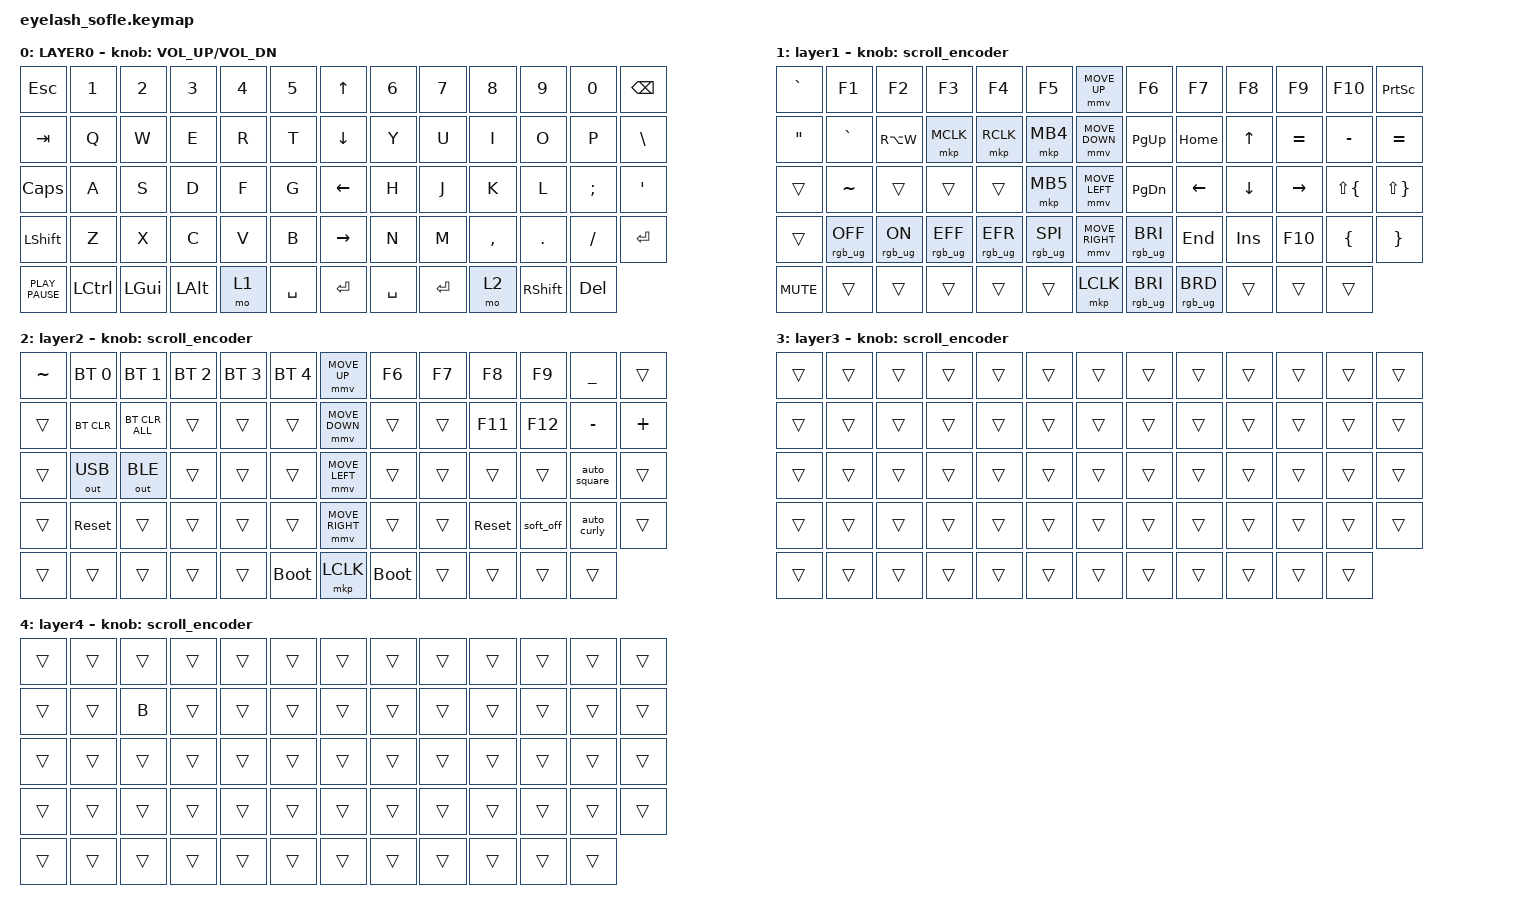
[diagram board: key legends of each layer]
#define ZMK_POINTING_DEFAULT_MOVE_VAL 1200  // 600
#define ZMK_POINTING_DEFAULT_SCRL_VAL 25   // 10

#include <input/processors.dtsi>
#include <zephyr/dt-bindings/input/input-event-codes.h>
#include <behaviors.dtsi>
#include <dt-bindings/zmk/bt.h>
#include <dt-bindings/zmk/keys.h>
#include <dt-bindings/zmk/outputs.h>
#include <dt-bindings/zmk/pointing.h>
#include <dt-bindings/zmk/rgb.h>

&mmv_input_listener { input-processors = <&zip_xy_scaler 2 1>; };

&msc_input_listener { input-processors = <&zip_scroll_scaler 2 1>; };

&msc {
    acceleration-exponent = <1>;      // 0
    time-to-max-speed-ms = <100>;       // 300
    delay-ms = <0>;                   // 0
};

&mmv {
    time-to-max-speed-ms = <500>;
    acceleration-exponent = <1>;
    trigger-period-ms = <16>;
};

&soft_off { hold-time-ms = <2000>; };

/ {
    scroll_encoder: scroll_encoder {
        compatible = "zmk,behavior-sensor-rotate";
        #sensor-binding-cells = <0>;
        bindings = <&msc SCRL_DOWN>, <&msc SCRL_UP>;

        tap-ms = <100>;
    };

    behaviors {
    };

    combos {
        compatible = "zmk,combos";

        softoff {
            bindings = <&soft_off>;
            key-positions = <14 28 40>;
        };
    };

    macros {
        auto_curly: auto_brackets {
            compatible = "zmk,behavior-macro";
            #binding-cells = <0>;
            bindings = <&kp LEFT_BRACE &kp RIGHT_BRACE &kp LEFT>;
            label = "AUTO_CURLY";
        };

        auto_square: auto_square {
            compatible = "zmk,behavior-macro";
            #binding-cells = <0>;
            bindings = <&kp LEFT_BRACKET &kp RIGHT_BRACKET &kp LEFT>;
            label = "AUTO_SQUARE";
        };
    };

    keymap {
        compatible = "zmk,keymap";

        layer0 {
            bindings = <
&kp ESC           &kp N1     &kp N2        &kp N3        &kp N4  &kp N5       &kp UP_ARROW     &kp N6     &kp N7     &kp N8     &kp N9           &kp N0      &kp BACKSPACE
&kp TAB           &kp Q      &kp W         &kp E         &kp R   &kp T        &kp DOWN_ARROW   &kp Y      &kp U      &kp I      &kp O            &kp P       &kp BSLH
&kp CAPS          &kp A      &kp S         &kp D         &kp F   &kp G        &kp LEFT_ARROW   &kp H      &kp J      &kp K      &kp L            &kp SEMI    &kp APOS
&kp LSHFT         &kp Z      &kp X         &kp C         &kp V   &kp B        &kp RIGHT_ARROW  &kp N      &kp M      &kp COMMA  &kp DOT          &kp FSLH    &kp ENTER
&kp K_PLAY_PAUSE  &kp LCTRL  &kp LEFT_GUI  &kp LEFT_ALT  &mo 1   &kp SPACE    &kp ENTER        &kp SPACE  &kp ENTER  &mo 2      &kp RIGHT_SHIFT  &kp DELETE
            >;

            sensor-bindings = <&inc_dec_kp C_VOLUME_UP C_VOL_DN>;
            display-name = "LAYER0";
        };

        layer_1 {
            bindings = <
&kp GRAVE          &kp F1           &kp F2          &kp F3           &kp F4           &kp F5             &mmv MOVE_UP     &kp F6           &kp F7           &kp F8      &kp F9     &kp F10             &kp PRINTSCREEN
&kp DOUBLE_QUOTES  &kp GRAVE        &kp RA(W)       &mkp MCLK        &mkp RCLK        &mkp MB4           &mmv MOVE_DOWN   &kp PG_UP        &kp HOME         &kp UP      &kp EQUAL  &kp MINUS           &kp EQUAL
&trans             &kp TILDE        &trans          &trans           &trans           &mkp MB5           &mmv MOVE_LEFT   &kp PG_DN        &kp LEFT         &kp DOWN    &kp RIGHT  &kp LS(LEFT_BRACE)  &kp LS(RIGHT_BRACE)
&trans             &rgb_ug RGB_OFF  &rgb_ug RGB_ON  &rgb_ug RGB_EFF  &rgb_ug RGB_EFR  &rgb_ug RGB_SPI    &mmv MOVE_RIGHT  &rgb_ug RGB_BRI  &kp END          &kp INSERT  &kp F10    &kp LEFT_BRACE      &kp RIGHT_BRACE
&kp C_MUTE         &trans           &trans          &trans           &trans           &trans             &mkp LCLK        &rgb_ug RGB_BRI  &rgb_ug RGB_BRD  &trans      &trans     &trans
            >;

            display-name = "layer1";
            sensor-bindings = <&scroll_encoder>;
        };

        layer_2 {
            bindings = <
&kp TILDE  &bt BT_SEL 0  &bt BT_SEL 1    &bt BT_SEL 2  &bt BT_SEL 3  &bt BT_SEL 4    &mmv MOVE_UP     &kp F6       &kp F7  &kp F8      &kp F9     &kp UNDER     &trans
&trans     &bt BT_CLR    &bt BT_CLR_ALL  &trans        &trans        &trans          &mmv MOVE_DOWN   &trans       &trans  &kp F11     &kp F12    &kp MINUS     &kp PLUS
&trans     &out OUT_USB  &out OUT_BLE    &trans        &trans        &trans          &mmv MOVE_LEFT   &trans       &trans  &trans      &trans     &auto_square  &trans
&trans     &sys_reset    &trans          &trans        &trans        &trans          &mmv MOVE_RIGHT  &trans       &trans  &sys_reset  &soft_off  &auto_curly   &trans
&trans     &trans        &trans          &trans        &trans        &bootloader     &mkp LCLK        &bootloader  &trans  &trans      &trans     &trans
            >;

            display-name = "layer2";
            sensor-bindings = <&scroll_encoder>;
        };

        layer_3 {
            bindings = <
&trans  &trans  &trans  &trans  &trans  &trans    &trans  &trans  &trans  &trans  &trans  &trans  &trans
&trans  &trans  &trans  &trans  &trans  &trans    &trans  &trans  &trans  &trans  &trans  &trans  &trans
&trans  &trans  &trans  &trans  &trans  &trans    &trans  &trans  &trans  &trans  &trans  &trans  &trans
&trans  &trans  &trans  &trans  &trans  &trans    &trans  &trans  &trans  &trans  &trans  &trans  &trans
&trans  &trans  &trans  &trans  &trans  &trans    &trans  &trans  &trans  &trans  &trans  &trans
            >;

            display-name = "layer3";
            sensor-bindings = <&scroll_encoder>;
        };

        layer_4 {
            bindings = <
&trans  &trans  &trans  &trans  &trans  &trans    &trans  &trans  &trans  &trans  &trans  &trans  &trans
&trans  &trans  &kp B   &trans  &trans  &trans    &trans  &trans  &trans  &trans  &trans  &trans  &trans
&trans  &trans  &trans  &trans  &trans  &trans    &trans  &trans  &trans  &trans  &trans  &trans  &trans
&trans  &trans  &trans  &trans  &trans  &trans    &trans  &trans  &trans  &trans  &trans  &trans  &trans
&trans  &trans  &trans  &trans  &trans  &trans    &trans  &trans  &trans  &trans  &trans  &trans
            >;

            display-name = "layer4";
            sensor-bindings = <&scroll_encoder>;
        };
    };
};
